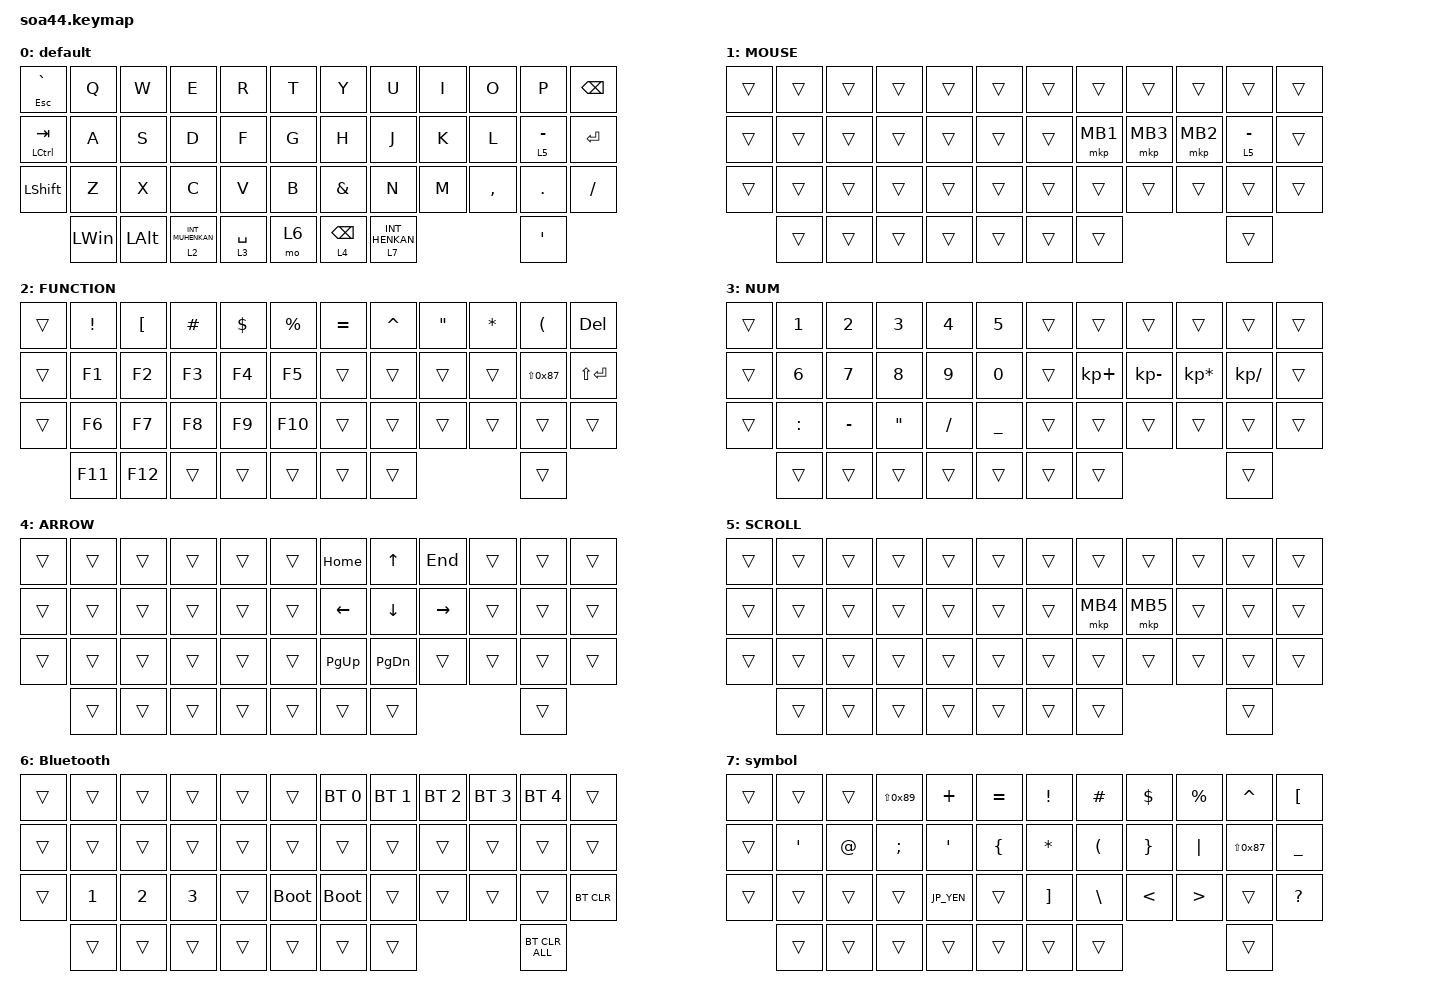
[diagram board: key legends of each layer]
#include <behaviors.dtsi>
#include <dt-bindings/zmk/bt.h>
#include <dt-bindings/zmk/keys.h>
#include <dt-bindings/zmk/pointing.h>

#define JP_DQUOTE       AT                // "
#define JP_AMPERSAND    CARET             // &
#define JP_QUOTE        AMPERSAND         // '
#define JP_EQUAL        UNDER             // =
#define JP_CARET        EQUAL             // ^
#define JP_YEN          0x89              // ¥
#define JP_PLUS         COLON             // +
#define JP_TILDE        PLUS              // ~
#define JP_PIPE         LS(0x89)          // |
#define JP_AT           LEFT_BRACKET      // @
#define JP_COLON        SINGLE_QUOTE      // :
#define JP_ASTERISK     DOUBLE_QUOTES     // *
#define JP_BACKQUOTE    LEFT_BRACE        // `
#define JP_UNDERSCORE   LS(0x87)          // _
#define JP_LBRACKET     RIGHT_BRACKET     // [
#define JP_RBRACKET     BACKSLASH         // ]
#define JP_LPAREN       ASTERISK          // (
#define JP_RPAREN       LEFT_PARENTHESIS  // )
#define JP_LBRACE       RIGHT_BRACE       // {
#define JP_RBRACE       PIPE              // }
#define JP_KANA         LANGUAGE_1        // かな
#define JP_EISU         LANGUAGE_2        // 英数
#define JP_HANZEN       GRAVE             // 半角/全角

&mt {
    quick-tap-ms = <0>;
    tapping-term-ms = <150>;
};

&lt { tapping-term-ms = <150>; };

/ {
    combos {
        compatible = "zmk,combos";

        shift_wquote {
            bindings = <&kp JP_DQUOTE>;
            key-positions = <24 30>;
        };

        caps_lock {
            bindings = <&kp CAPSLOCK>;
            key-positions = <24 12>;
        };

        muhenkan {
            bindings = <&kp INT_MUHENKAN>;
            key-positions = <42 30>;
        };

        underscore {
            bindings = <&kp JP_UNDERSCORE>;
            key-positions = <24 22>;
        };

        equal {
            bindings = <&kp JP_EQUAL>;
            key-positions = <24 23>;
        };

        hatena {
            bindings = <&kp QUESTION>;
            key-positions = <24 35>;
        };
    };

    macros {
        to_layer_0: to_layer_0 {
            compatible = "zmk,behavior-macro-one-param";
            #binding-cells = <1>;
            bindings = <&to 0 &macro_param_1to1 &kp MACRO_PLACEHOLDER>;
            label = "TO_LAYER_0";
        };
    };

    behaviors {
        lt_to_layer_0: lt_to_layer_0 {
            compatible = "zmk,behavior-hold-tap";
            label = "LAYER_TAP_TO_0";
            bindings = <&mo>, <&to_layer_0>;

            #binding-cells = <2>;
            tapping-term-ms = <150>;
        };
    };

    keymap {
        compatible = "zmk,keymap";

        default {
            bindings = <
&mt ESCAPE JP_HANZEN  &kp Q         &kp W         &kp E               &kp R        &kp T  &kp Y            &kp U             &kp I  &kp O      &kp P         &kp BACKSPACE
&mt LCTRL TAB         &kp A         &kp S         &kp D               &kp F        &kp G  &kp H            &kp J             &kp K  &kp L      &lt 5 MINUS   &kp ENTER
&kp LEFT_SHIFT        &kp Z         &kp X         &kp C               &kp V        &kp B  &kp JP_QUOTE     &kp N             &kp M  &kp COMMA  &kp DOT       &kp SLASH
                      &kp LEFT_WIN  &kp LEFT_ALT  &lt 2 INT_MUHENKAN  &lt 3 SPACE  &mo 6  &lt 4 BACKSPACE  &lt 7 INT_HENKAN                    &kp JP_COLON
            >;
        };

        MOUSE {
            bindings = <
&trans  &trans  &trans  &trans  &trans  &trans  &trans  &trans    &trans    &trans    &trans       &trans
&trans  &trans  &trans  &trans  &trans  &trans  &trans  &mkp MB1  &mkp MB3  &mkp MB2  &lt 5 MINUS  &trans
&trans  &trans  &trans  &trans  &trans  &trans  &trans  &trans    &trans    &trans    &trans       &trans
        &trans  &trans  &trans  &trans  &trans  &trans  &trans                        &trans
            >;
        };

        FUNCTION {
            bindings = <
&trans  &kp EXCLAMATION  &kp JP_AT  &kp HASH  &kp DOLLAR  &kp PERCENT  &kp JP_CARET  &kp JP_AMPERSAND  &kp JP_ASTERISK  &kp JP_LPAREN  &kp JP_RPAREN      &kp DELETE
&trans  &kp F1           &kp F2     &kp F3    &kp F4      &kp F5       &trans        &trans            &trans           &trans         &kp JP_UNDERSCORE  &kp LS(ENTER)
&trans  &kp F6           &kp F7     &kp F8    &kp F9      &kp F10      &trans        &trans            &trans           &trans         &trans             &trans
        &kp F11          &kp F12    &trans    &trans      &trans       &trans        &trans                                            &trans
            >;
        };

        NUM {
            bindings = <
&trans  &kp N1        &kp N2     &kp N3           &kp N4     &kp N5        &trans  &trans       &trans        &trans           &trans        &trans
&trans  &kp NUMBER_6  &kp N7     &kp N8           &kp N9     &kp N0        &trans  &kp KP_PLUS  &kp KP_MINUS  &kp KP_ASTERISK  &kp KP_SLASH  &trans
&trans  &kp JP_PLUS   &kp MINUS  &kp JP_ASTERISK  &kp SLASH  &kp JP_EQUAL  &trans  &trans       &trans        &trans           &trans        &trans
        &trans        &trans     &trans           &trans     &trans        &trans  &trans                                      &trans
            >;
        };

        ARROW {
            bindings = <
&trans  &trans  &trans  &trans  &trans  &trans  &kp HOME     &kp UP         &kp END    &trans  &trans  &trans
&trans  &trans  &trans  &trans  &trans  &trans  &kp LEFT     &kp DOWN       &kp RIGHT  &trans  &trans  &trans
&trans  &trans  &trans  &trans  &trans  &trans  &kp PAGE_UP  &kp PAGE_DOWN  &trans     &trans  &trans  &trans
        &trans  &trans  &trans  &trans  &trans  &trans       &trans                            &trans
            >;
        };

        SCROLL {
            bindings = <
&trans  &trans  &trans  &trans  &trans  &trans  &trans  &trans    &trans    &trans  &trans  &trans
&trans  &trans  &trans  &trans  &trans  &trans  &trans  &mkp MB4  &mkp MB5  &trans  &trans  &trans
&trans  &trans  &trans  &trans  &trans  &trans  &trans  &trans    &trans    &trans  &trans  &trans
        &trans  &trans  &trans  &trans  &trans  &trans  &trans                      &trans
            >;
        };

        Bluetooth {
            bindings = <
&trans  &trans        &trans        &trans        &trans  &trans       &bt BT_SEL 0  &bt BT_SEL 1  &bt BT_SEL 2  &bt BT_SEL 3  &bt BT_SEL 4    &trans
&trans  &trans        &trans        &trans        &trans  &trans       &trans        &trans        &trans        &trans        &trans          &trans
&trans  &kp NUMBER_1  &kp NUMBER_2  &kp NUMBER_3  &trans  &bootloader  &bootloader   &trans        &trans        &trans        &trans          &bt BT_CLR
        &trans        &trans        &trans        &trans  &trans       &trans        &trans                                    &bt BT_CLR_ALL
            >;
        };

        symbol {
            bindings = <
&trans  &trans            &trans         &kp JP_PIPE    &kp JP_TILDE  &kp JP_CARET      &kp EXCLAMATION  &kp HASH         &kp DOLLAR     &kp PERCENT       &kp JP_AMPERSAND   &kp JP_AT
&trans  &kp SINGLE_QUOTE  &kp JP_DQUOTE  &kp SEMICOLON  &kp JP_COLON  &kp JP_BACKQUOTE  &kp JP_LPAREN    &kp JP_RPAREN    &kp JP_LBRACE  &kp JP_RBRACE     &kp JP_UNDERSCORE  &kp JP_EQUAL
&trans  &trans            &trans         &trans         &kp JP_YEN    &trans            &kp JP_LBRACKET  &kp JP_RBRACKET  &kp LESS_THAN  &kp GREATER_THAN  &trans             &kp QUESTION
        &trans            &trans         &trans         &trans        &trans            &trans           &trans                                            &trans
            >;
        };
    };
};
